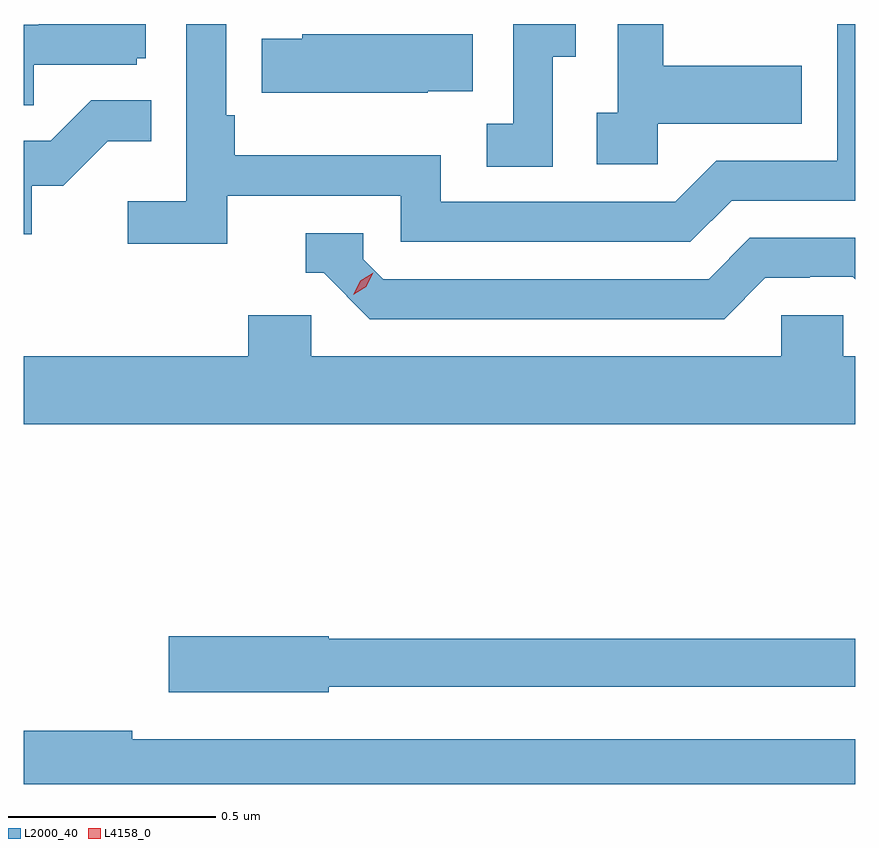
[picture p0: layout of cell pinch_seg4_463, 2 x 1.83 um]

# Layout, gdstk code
import gdstk
lib = gdstk.Library(unit=1e-6, precision=1e-09)
def P(c, l, *ps):  # polygons
    for p in ps: c.add(gdstk.Polygon(p, *l))
L2000_40 = (2000, 40)
L4158_0 = (4158, 0)

pinch_seg4_463 = lib.new_cell('pinch_seg4_463')
P(pinch_seg4_463, L2000_40, [(921.83,781.386),(922.248,781.386),(922.248,781.275),(922.945,781.275),(923.044,781.374),(923.341,781.374),(923.341,781.799),(923.298,781.799),(923.298,781.47),(923.007,781.47),(922.908,781.371),(922.344,781.371),(922.344,781.483),(921.848,781.483),(921.848,781.579),(921.828,781.579),(921.828,781.799),(921.732,781.799),(921.732,781.372),(921.591,781.372),(921.591,781.27),(921.83,781.27)],
  [(922.866,781.559),(923.213,781.559),(923.213,781.699),(922.879,781.699),(922.879,781.799),(922.77,781.799),(922.77,781.586),(922.719,781.586),(922.719,781.461),(922.866,781.461)],
  [(922.614,781.72),(922.669,781.72),(922.669,781.799),(922.518,781.799),(922.518,781.559),(922.455,781.559),(922.455,781.456),(922.614,781.456)],
  [(921.365,781.701),(921.612,781.701),(921.612,781.716),(921.634,781.716),(921.634,781.799),(921.377,781.799),(921.377,781.797),(921.341,781.797),(921.341,781.603),(921.365,781.603)],
  [(922.313,781.637),(922.421,781.637),(922.421,781.774),(922.011,781.774),(922.011,781.764),(921.913,781.764),(921.913,781.634),(922.313,781.634)],
  [(921.36,781.41),(921.436,781.41),(921.543,781.517),(921.647,781.517),(921.647,781.616),(921.503,781.616),(921.405,781.518),(921.341,781.518),(921.341,781.293),(921.36,781.293)],
  [(923.125,781.188),(923.232,781.188),(923.232,781.191),(923.335,781.191),(923.341,781.185),(923.341,781.284),(923.088,781.284),(922.989,781.185),(922.206,781.185),(922.158,781.233),(922.158,781.296),(922.019,781.296),(922.019,781.2),(922.062,781.2),(922.173,781.089),(923.026,781.089)],
  [(923.341,781),(923.313,781),(923.313,781.098),(923.163,781.098),(923.163,781),(922.032,781),(922.032,781.098),(921.881,781.098),(921.881,781),(921.341,781),(921.341,780.836),(923.341,780.836)],
  [(922.074,780.204),(923.341,780.204),(923.341,780.32),(922.074,780.32),(922.074,780.326),(921.69,780.326),(921.69,780.191),(922.074,780.191)],
  [(923.341,780.078),(921.602,780.078),(921.602,780.098),(921.341,780.098),(921.341,779.97),(923.341,779.97)])
P(pinch_seg4_463, L4158_0, [(922.134,781.148),(922.134,781.148),(922.15,781.181),(922.181,781.2),(922.181,781.2),(922.181,781.2),(922.165,781.167),(922.134,781.148)])

lib.write_gds('pinch_seg4_463.gds')
